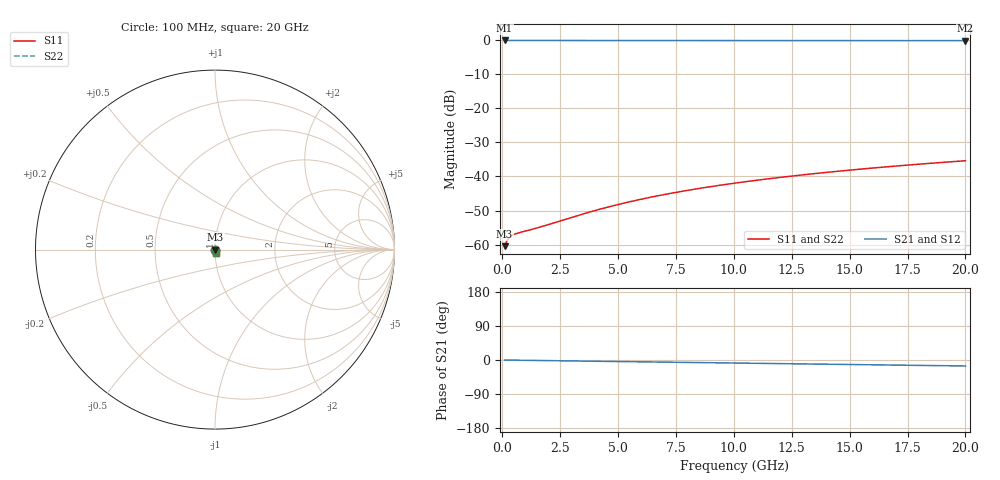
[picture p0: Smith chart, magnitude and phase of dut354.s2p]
! Touchstone file exported from HFSS 2026.1.0
!  File:  C:/ffzhzh/LocalFiles/Ansys_Project_Files/temp_train_TMRDL_354_1783004045_55676.aedt
!  Generated:  10:55:17 PM Jul  2, 2026
!  Design:  TMRDL
!  Project:  temp_train_TMRDL_354_1783004045_55676
! Variables:
!  h_bsmrdl = 2um
!  h_ox = 20um
!  h_rdl = 5um
!  h_sub = 80um
!  h_tmrdl = 5.01um
!  h_tsv = 80um
!  h_via = 3um
!  l_bsmrdl = 300um
!  l_sub = 671.91um
!  l_tmrdl = 271.91um
!  m_sub = 200um
!  pitch = 33.36um
!  r_tsv = 6um
!  s_tmrdl = 10um
!  w_bsmrdl = 18um
!  w_sub = 500um
!  w_tmrdl = 28.65um
!  x_tsv_center1 = 286.235um
!  x_tsv_center2 = 604.235um
!  x_tsv_center3 = 904.795um
!  x_tsv_center4 = 1222.795um
!  x_tsv_center5 = 1523.355um
!  x_tsv_center6 = 1841.355um
# GHz S MA R 50.000000
! Terminal data exported
! Port[1] = TM_RDL1_1_T1
! Port[2] = TM_RDL1_1_T2
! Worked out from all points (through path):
!   200 points, 100 MHz to 20 GHz, reference 50 ohm
!   highest |S21| = -0.01 dB at 100 MHz (marker M1); lowest = -0.1 dB at 20 GHz (marker M2)
!   group delay of S21, straight-line fit = 2.19 ps
!   lowest |S11| = -60.5 dB at 100 MHz (marker M3), VSWR 1.00, Z = 50.1 + j0.0227 ohm
!   |S11| at or under -10 dB: start of sweep to end of sweep
!   |S22| runs from -60.5 to -35.4 dB; largest |S21 - S12| = 3.1e-15
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0.1  0.0009459 13.9  0.9991 -0.1  0.9991 -0.1  0.0009459 13.9
! Gamma 0 0 0 0
! Port Impedance 50 0 50 0
0.2  0.001137 15.9  0.9989 -0.2  0.9989 -0.2  0.001137 15.9
0.3  0.001268 13.9  0.9988 -0.3  0.9988 -0.3  0.001268 13.9
0.4  0.00135 11.5  0.9987 -0.4  0.9987 -0.4  0.00135 11.5
0.5  0.001405 9.4  0.9986 -0.4  0.9986 -0.4  0.001405 9.4
0.7  0.001482 6.2  0.9985 -0.6  0.9985 -0.6  0.001482 6.2
1.7  0.001834 -3.4  0.9982 -1.4  0.9982 -1.4  0.001834 -3.4
3.5  0.002823 -19.2  0.9973 -2.9  0.9973 -2.9  0.002823 -19.2
4.3  0.003366 -25.9  0.9969 -3.5  0.9969 -3.5  0.003366 -25.9
5.1  0.003949 -31.9  0.9965 -4.2  0.9965 -4.2  0.003949 -31.9
5.9  0.00456 -37.2  0.9961 -4.8  0.9961 -4.8  0.004561 -37.2
6.8  0.005273 -42.4  0.9958 -5.5  0.9958 -5.5  0.005273 -42.4
7.6  0.005924 -46.5  0.9955 -6.1  0.9955 -6.1  0.005924 -46.5
8.4  0.006588 -50.1  0.9952 -6.8  0.9952 -6.8  0.006589 -50.1
9.2  0.007263 -53.4  0.9949 -7.4  0.9949 -7.4  0.007264 -53.4
10.1  0.008035 -56.6  0.9946 -8.1  0.9946 -8.1  0.008036 -56.6
11.7  0.009434 -61.6  0.9942 -9.3  0.9942 -9.3  0.009435 -61.6
13.4  0.01095 -66.1  0.9937 -10.7  0.9937 -10.7  0.01095 -66.1
15  0.0124 -69.7  0.9933 -11.9  0.9933 -11.9  0.01241 -69.8
16.7  0.01397 -73.2  0.9929 -13.2  0.9929 -13.2  0.01397 -73.2
18.3  0.01546 -76.1  0.9925 -14.5  0.9925 -14.5  0.01546 -76.1
20  0.01705 -79.0  0.9921 -15.8  0.9921 -15.8  0.01706 -79.0
